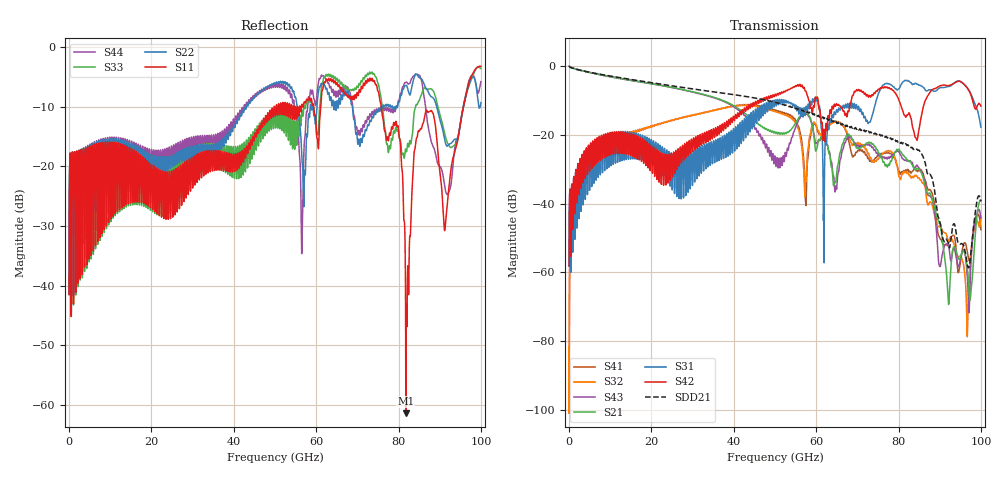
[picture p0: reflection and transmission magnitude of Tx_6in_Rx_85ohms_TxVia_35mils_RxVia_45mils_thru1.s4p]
! Info: Touchstone file created by Circ.  Input file=Tx_6in_Rx_85ohms_TxVia_35mils_RxVia_45mils.circ
# Hz S RI R 50
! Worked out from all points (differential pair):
!   10000 points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, 10 MHz to 100 GHz, reference 50 ohm
!   strongest paths, dB at 10 MHz, 25.01 GHz, 50.01 GHz, 75.01 GHz, 100 GHz:
!     S42: -58.1, -28.3, -8.2, -6.8, -11.7
!     S31: -58.1, -33.0, -9.9, -8.4, -17.8
!     S21: -0.1, -6.2, -19.2, -24.8, -39.1
!     S43: -0.1, -6.3, -26.2, -25.8, -44.2
!     S32: -81.6, -15.8, -13.3, -27.1, -44.3
!     S41: -81.6, -15.8, -12.9, -26.1, -47.6
!   taken as a pair (ports 1,3 in; 2,4 out), SDD21 dB: -0.1, -5.8, -10.5, -20.0, -39.4
!   lowest |S11| = -61.4 dB at 81.77 GHz (marker M1), VSWR 1.00, Z = 50 + j0.0853 ohm
!   |S11| at or under -10 dB: start of sweep to 49.8 GHz; 59.41 GHz to 61.11 GHz (1.705 GHz wide, 2.83 % of centre); 75.81 GHz to 95.76 GHz (19.95 GHz wide, 23.3 % of centre) (the widest 3 of 17)
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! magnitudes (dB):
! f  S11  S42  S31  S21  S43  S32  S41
! 10 MHz  -41.4  -58.1  -58.1  -0.1  -0.1  -81.6  -81.6
! 2.13 GHz  -35.8  -28.5  -28.6  -1.0  -1.0  -33.0  -33.0
! 11.65 GHz  -21.1  -20.9  -21.4  -3.4  -3.4  -21.3  -21.3
! 73.42 GHz  -5.5  -8.5  -15.2  -22.4  -23.5  -27.4  -27.8
! 81.77 GHz  -61.4  -14.9  -4.3  -26.6  -27.4  -30.6  -30.2
! 92.11 GHz  -24.4  -5.7  -6.0  -68.9  -52.1  -50.7  -51.6
! 100 GHz  -3.2  -11.7  -17.8  -39.1  -44.2  -44.3  -47.6
